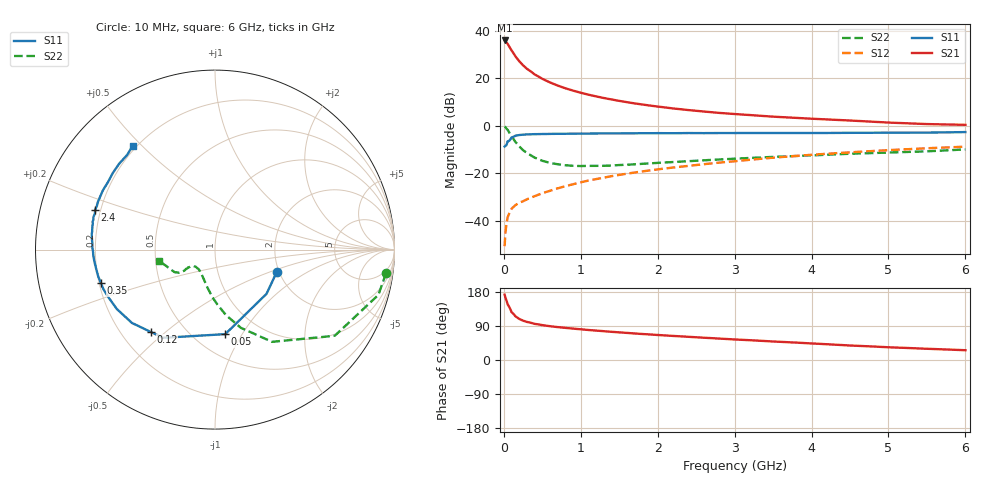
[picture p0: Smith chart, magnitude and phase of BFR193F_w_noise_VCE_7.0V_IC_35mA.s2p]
! Infineon Technologies  Discrete & RF Semiconductors
! BFR193F
! VCE =  7.0 V,  IC =  35 mA
! Common Emitter S-Parameters:  Jan 2017
# GHz  S  MA  R  50
!  f  S11  S21  S12  S22
! GHz  MAG  ANG  MAG  ANG  MAG  ANG  MAG  ANG
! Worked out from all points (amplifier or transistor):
!   77 points, 10 MHz to 6 GHz, reference 50 ohm
!   highest |S21| = 36.0 dB at 10 MHz (marker M1)
!   |S21| within 3 dB of that: start of sweep to 77.97 MHz
!   unconditionally stable (mu >= 1): 1.108 GHz to 2.641 GHz
!   at 130 MHz: K = 0.39, MSG = 32.2 dB, |S12| = -34.1 dB
!   at 2.2 GHz: K = 1.02, MAG = 11.6 dB, |S12| = -17.6 dB
!   at 6 GHz: K = 0.85, MSG = 4.6 dB, |S12| = -8.8 dB
!   lowest NFmin = 1.26 dB at 450 MHz
!   S11 on the Smith chart (normalised r, x): 10 MHz: 1.94, -0.56; 50 MHz: 0.70, -0.85; 120 MHz: 0.32, -0.45; 350 MHz: 0.21, -0.14; 2.4 GHz: 0.18, +0.16; 6 GHz: 0.18, +0.47
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0.01  0.3659 -20.0  63.11 172.5  0.0029 88.2  0.9621 -7.9
0.02  0.3783 -40.6  61.42 165.0  0.0054 78.2  0.9445 -15.5
0.05  0.4745 -83.1  53.42 146.6  0.0119 64.8  0.8221 -35.7
0.1  0.5703 -120.5  39.05 126.4  0.0178 53.1  0.6041 -58.3
0.12  0.582 -128.0  34.99 122.7  0.0192 51.7  0.5427 -62.8
0.15  0.6173 -138.5  29.27 115.4  0.0212 50.0  0.459 -71.7
0.2  0.6393 -148.8  23.05 108.4  0.0239 49.9  0.37 -80.5
0.25  0.6505 -155.9  18.86 103.8  0.0257 50.6  0.3069 -87.4
0.3  0.6595 -160.4  15.97 100.5  0.0282 52.2  0.2672 -92.9
0.35  0.6625 -163.8  14.04 98.3  0.0305 54.7  0.2397 -96.8
0.4  0.6677 -167.1  12.15 95.4  0.0328 56.8  0.2136 -101.7
0.5  0.6712 -171.3  9.8 92.1  0.0379 60.0  0.1833 -108.6
0.6  0.6755 -174.5  8.221 89.2  0.0427 62.8  0.165 -114.8
0.8  0.6797 -179.1  6.19 84.8  0.0534 66.5  0.1475 -124.4
1.1  0.6871 175.6  4.539 79.2  0.0702 69.7  0.1431 -133.6
1.5  0.6936 170.4  3.361 72.9  0.0923 71.4  0.1491 -141.3
2.1  0.6999 164.2  2.437 64.8  0.1263 72.3  0.1689 -145.6
2.4  0.704 161.5  2.149 61.2  0.1431 71.9  0.1797 -146.4
3.1  0.7045 155.6  1.73 53.2  0.1857 71.0  0.2063 -145.6
4.1  0.706 146.8  1.388 42.7  0.2512 67.5  0.2417 -148.0
5.1  0.7171 137.0  1.154 32.8  0.3128 62.3  0.2765 -158.1
6  0.7383 128.4  1.049 25.8  0.3635 57.1  0.318 -168.5
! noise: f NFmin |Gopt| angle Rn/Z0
0.45  1.26  0.42  178  0.06
0.9  1.35  0.44  178  0.07
1.9  1.9  0.58  -166  0.08
2.4  2.2  0.61  -157  0.12
